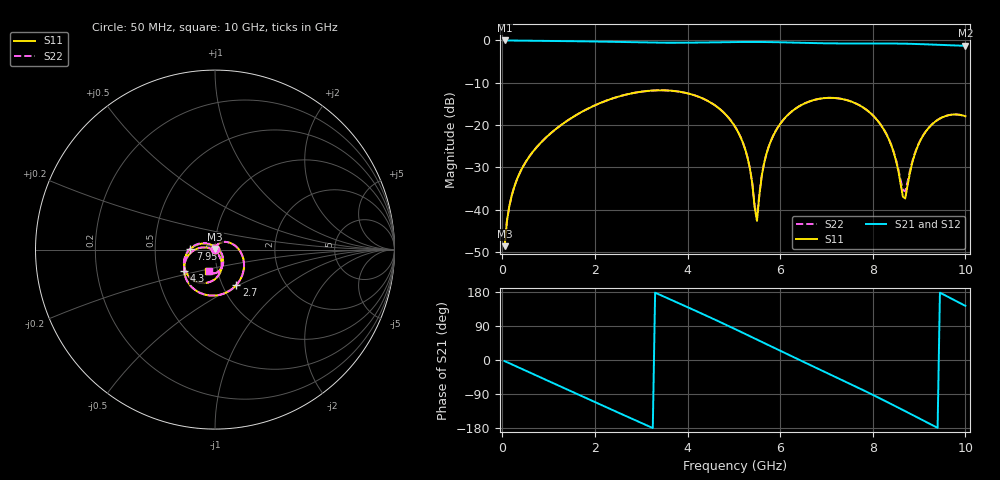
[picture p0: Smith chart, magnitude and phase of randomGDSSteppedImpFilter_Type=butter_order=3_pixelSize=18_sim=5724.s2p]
! freq	dB(S11)	phase(S11)	dB(S12)	phase(S12)
!  dB(S21)	phase(S21)	dB(S22)	phase(S22)
!S-par simulation data
#  GHz  S  DB  R 50
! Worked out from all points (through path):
!   200 points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, 50 MHz to 10 GHz, reference 50 ohm
!   highest |S21| = -0.01 dB at 50 MHz (marker M1); lowest = -1.3 dB at 10 GHz (marker M2)
!   group delay of S21, straight-line fit = 159 ps
!   lowest |S11| = -48.7 dB at 50 MHz (marker M3), VSWR 1.01, Z = 50.1 + j0.364 ohm
!   |S11| at or under -10 dB: start of sweep to end of sweep
!   |S22| runs from -48.7 to -11.8 dB; largest |S21 - S12| = 0
!   S11 on the Smith chart (normalised r, x): 50 MHz: 1.00, +0.01; 2.7 GHz: 1.16, -0.49; 4.3 GHz: 0.69, -0.17; 7.95 GHz: 0.76, +0.00; 10 GHz: 0.90, -0.22
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0.05  -48.66 80.3  -0.01 -2.8  -0.01 -2.8  -48.66 80.3
0.1  -42.74 78.9  -0.01 -5.6  -0.01 -5.6  -42.74 78.9
0.2  -36.85 75.5  -0.02 -11.2  -0.02 -11.2  -36.85 75.5
0.45  -29.79 63.6  -0.04 -25.1  -0.04 -25.1  -29.79 63.5
1.15  -21.02 26.1  -0.11 -63.9  -0.11 -63.9  -21.02 25.9
1.75  -16.70 -7.0  -0.21 -97.2  -0.21 -97.2  -16.70 -7.2
2.7  -12.73 -59.2  -0.43 -149.6  -0.43 -149.6  -12.74 -59.4
3.4  -11.79 -97.0  -0.54 172.3  -0.54 172.3  -11.79 -97.2
4.3  -13.59 -145.4  -0.50 122.9  -0.50 122.9  -13.59 -145.5
5.05  -20.84 174.8  -0.38 80.2  -0.38 80.2  -20.83 174.9
5.3  -27.90 165.7  -0.36 65.6  -0.36 65.6  -27.87 166.4
5.5  -42.70 -107.0  -0.36 53.9  -0.36 53.9  -41.88 -109.1
5.65  -29.23 -55.3  -0.37 45.1  -0.37 45.1  -29.19 -57.0
5.85  -22.54 -61.0  -0.40 33.3  -0.40 33.3  -22.53 -62.0
6.7  -14.18 -107.0  -0.62 -16.1  -0.62 -16.1  -14.18 -107.8
7.4  -14.00 -147.3  -0.72 -56.5  -0.72 -56.5  -14.00 -148.2
7.95  -17.19 179.0  -0.71 -88.9  -0.71 -88.9  -17.18 177.6
8.35  -23.46 149.5  -0.72 -113.3  -0.72 -113.3  -23.40 146.7
8.7  -37.39 32.2  -0.77 -135.0  -0.77 -135.0  -35.69 34.7
8.9  -27.12 -35.5  -0.83 -147.6  -0.83 -147.6  -26.93 -32.3
9.15  -21.47 -58.5  -0.92 -163.3  -0.92 -163.3  -21.42 -57.0
10  -17.94 -106.6  -1.28 142.8  -1.28 142.8  -17.96 -106.5
